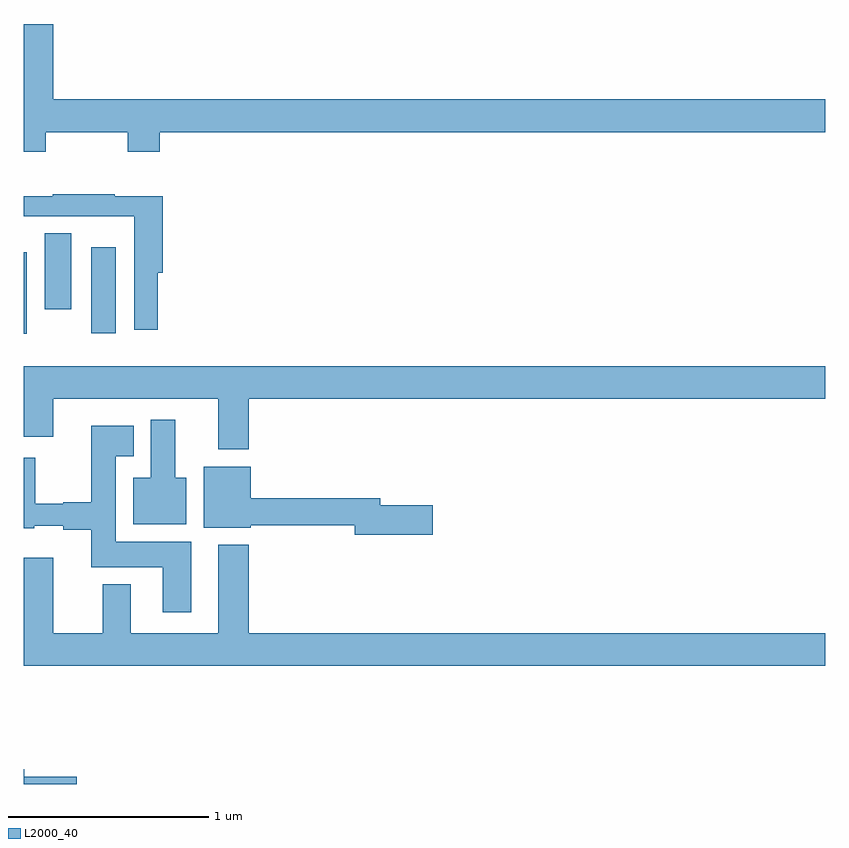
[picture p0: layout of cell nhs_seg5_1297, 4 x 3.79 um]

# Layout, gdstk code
import gdstk
lib = gdstk.Library(unit=1e-6, precision=1e-09)
def R(c, l, rs):  # rectangles x0, y0, x1, y1
    for r in rs: c.add(gdstk.rectangle(r[:2], r[2:], *l))
def P(c, l, *ps):  # polygons
    for p in ps: c.add(gdstk.Polygon(p, *l))
L2000_40 = (2000, 40)

nhs_seg5_1297 = lib.new_cell('nhs_seg5_1297')
R(nhs_seg5_1297, L2000_40, [(189,897.045,189.016,897.451), (189.338,897.048,189.46,897.478), (189.104,897.168,189.238,897.548)])
P(nhs_seg5_1297, L2000_40, [(189.111,898.052),(189.52,898.052),(189.52,897.953),(189.68,897.953),(189.68,898.052),(193,898.052),(193,898.216),(189.148,898.216),(189.148,898.591),(189,898.591),(189,897.953),(189.111,897.953)],
  [(189.668,897.35),(189.695,897.35),(189.695,897.732),(189.455,897.732),(189.455,897.742),(189.145,897.742),(189.145,897.732),(189,897.732),(189,897.632),(189.008,897.632),(189.008,897.633),(189.342,897.633),(189.342,897.632),(189.552,897.632),(189.552,897.066),(189.668,897.066)],
  [(190.124,896.72),(193,896.72),(193,896.884),(189,896.884),(189,896.532),(189.148,896.532),(189.148,896.72),(189.971,896.72),(189.971,896.468),(190.124,896.468)],
  [(189.811,896.326),(189.757,896.326),(189.757,896.617),(189.635,896.617),(189.635,896.326),(189.548,896.326),(189.548,896.096),(189.811,896.096)],
  [(189.835,896.008),(189.46,896.008),(189.46,896.435),(189.55,896.435),(189.55,896.587),(189.338,896.587),(189.338,896.204),(189.198,896.204),(189.198,896.197),(189.058,896.197),(189.058,896.428),(189,896.428),(189,896.075),(189.054,896.075),(189.054,896.087),(189.198,896.087),(189.198,896.068),(189.338,896.068),(189.338,895.88),(189.695,895.88),(189.695,895.656),(189.835,895.656)],
  [(191.041,896.189),(190.78,896.189),(190.78,896.225),(190.132,896.225),(190.132,896.383),(189.899,896.383),(189.899,896.078),(190.132,896.078),(190.132,896.089),(190.652,896.089),(190.652,896.042),(191.041,896.042)],
  [(189.395,895.795),(189.395,895.552),(189.148,895.552),(189.148,895.927),(189,895.927),(189,895.388),(193,895.388),(193,895.552),(190.124,895.552),(190.124,895.993),(189.971,895.993),(189.971,895.552),(189.535,895.552),(189.535,895.795)],
  [(189.265,894.836),(189.004,894.836),(189.004,894.872),(189,894.872),(189,894.799),(189.265,894.799)])

lib.write_gds('nhs_seg5_1297.gds')
